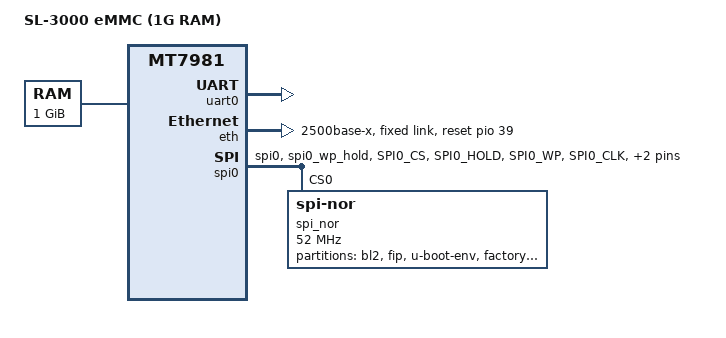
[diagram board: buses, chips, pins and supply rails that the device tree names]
// SPDX-License-Identifier: GPL-2.0
/*
 * SL3000 1024M DDR4 Physical Adaptation Version
 * Target: SPI-NOR Rescue Build (256KB BL2 Offset)
 */

/dts-v1/;
#include "mt7981.dtsi"
#include <dt-bindings/gpio/gpio.h>

/ {
	#address-cells = <1>;
	#size-cells = <1>;
	model = "SL-3000 eMMC (1G RAM)";
	compatible = "mediatek,mt7981", "mediatek,mt7981-rfb";

	chosen {
		stdout-path = &uart0;
		tick-timer = &timer0;
	};

	/* 物理锁定：1024MB (1GB) 内存寻址空间 */
	memory@40000000 {
		device_type = "memory";
		reg = <0x40000000 0x40000000>;
	};
};

&uart0 {
	status = "okay";
};

&eth {
	status = "okay";
	mediatek,gmac-id = <0>;
	phy-mode = "2500base-x";
	mediatek,switch = "auto";
	reset-gpios = <&pio 39 GPIO_ACTIVE_HIGH>;

	fixed-link {
		speed = <2500>;
		full-duplex;
	};
};

/* 物理锁定：SPI0 挂载 SPI-NOR (救砖核心通道) */
&spi0 {
	#address-cells = <1>;
	#size-cells = <0>;
	pinctrl-names = "default";
	pinctrl-0 = <&spi_flash_pins>;
	status = "okay";
	must_tx;
	enhance_timing;
	dma_ext;
	ipm_design;
	support_quad;
	tick_dly = <2>;
	sample_sel = <0>;

	spi_nor@0 {
		compatible = "jedec,spi-nor";
		reg = <0>;
		spi-max-frequency = <52000000>;
		spi-rx-bus-width = <4>;
		spi-tx-bus-width = <4>;

		/* 像素级分区对齐：确保 U-Boot 逻辑与物理 dd 指令同步 */
		partitions {
			compatible = "fixed-partitions";
			#address-cells = <1>;
			#size-cells = <1>;

			partition@0 {
				label = "bl2";
				reg = <0x000000 0x040000>; /* 256KB，对齐 dd seek=512 */
			};

			partition@40000 {
				label = "fip";
				reg = <0x040000 0x080000>; /* 512KB，存放 U-Boot+BL31 */
			};

			partition@c0000 {
				label = "u-boot-env";
				reg = <0x0c0000 0x010000>; /* 64KB，环境变量区 */
			};

			partition@d0000 {
				label = "factory";
				reg = <0x0d0000 0x0b0000>; /* 704KB，工厂无线数据 */
			};

			partition@180000 {
				label = "firmware";
				reg = <0x180000 0x1e80000>; /* 剩余空间给系统 */
			};
		};
	};
};

&pio {
	spi_flash_pins: spi0-pins-func-1 {
		mux {
			function = "flash";
			groups = "spi0", "spi0_wp_hold";
		};

		conf-pu {
			pins = "SPI0_CS", "SPI0_HOLD", "SPI0_WP";
			drive-strength = <MTK_DRIVE_8mA>;
			bias-pull-up = <MTK_PUPD_SET_R1R0_11>;
		};

		conf-pd {
			pins = "SPI0_CLK", "SPI0_MOSI", "SPI0_MISO";
			drive-strength = <MTK_DRIVE_8mA>;
			bias-pull-down = <MTK_PUPD_SET_R1R0_11>;
		};
	};
};

&watchdog {
	status = "disabled";
};
